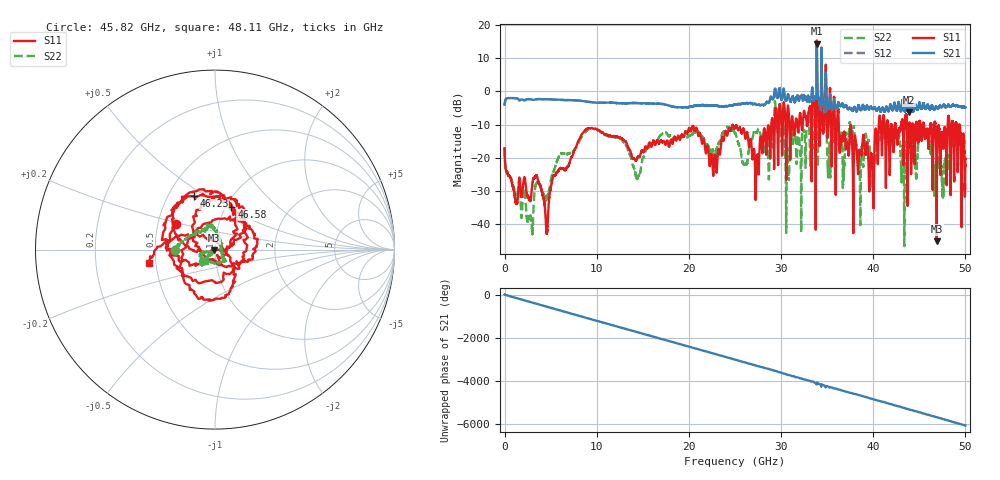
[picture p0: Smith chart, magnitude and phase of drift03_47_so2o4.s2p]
!Created with skrf (http://scikit-rf.org).
# Hz S RI R 50.0
!freq ReS11 ImS11 ReS21 ImS21 ReS12 ImS12 ReS22 ImS22
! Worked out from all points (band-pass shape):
!   10001 points, 300 kHz to 50 GHz, reference 50 ohm
!   highest |S21| = 14.41 dB at 33.88 GHz (marker M1); lowest = -6.3 dB at 43.9 GHz (marker M2)
!   |S21| within 3 dB of the highest: 33.8693 GHz to 33.88851 GHz (19.21 MHz wide, 0.0567 % of centre); 34.37686 GHz to 34.38936 GHz (12.5 MHz wide, 0.0364 % of centre)
!   lowest |S11| = -45.2 dB at 46.89 GHz (marker M3), VSWR 1.01, Z = 49.6 - j0.334 ohm
!   |S11| at or under -10 dB: start of sweep to 28.94 GHz; 36.27 GHz to 40.6 GHz (4.337 GHz wide, 11.3 % of centre); 46.74 GHz to 48.08 GHz (1.336 GHz wide, 2.82 % of centre) (the widest 3 of 65)
!   |S22| runs from -46.7 to 11.1 dB; largest |S21 - S12| = 0.83
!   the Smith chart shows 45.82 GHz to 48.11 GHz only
!   S11 on the Smith chart (normalised r, x): 45.82 GHz: 0.62, +0.19; 46.23 GHz: 0.67, +0.45; 46.58 GHz: 1.06, +0.54; 48.11 GHz: 0.46, -0.08
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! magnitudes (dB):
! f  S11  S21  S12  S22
! 300 kHz  -17.2  -4.0  -4.0  -16.9
! 2.82 GHz  -32.7  -2.4  -2.4  -38.1
! 4.555 GHz  -43.0  -2.3  -2.3  -32.2
! 8.335 GHz  -13.1  -2.8  -2.8  -13.9
! 14.44 GHz  -19.9  -3.5  -3.5  -26.1
! 16.67 GHz  -15.4  -3.7  -3.7  -14.3
! 22.82 GHz  -19.3  -4.3  -4.3  -19.1
! 25 GHz  -11.0  -4.0  -4.0  -12.5
! 27.39 GHz  -19.4  -4.1  -4.1  -12.4
! 29.6 GHz  -10.4  -2.0  -2.1  -11.7
! 30.7 GHz  -5.6  -1.4  -1.4  -17.2
! 33.34 GHz  -13.8  -0.4  -0.4  -7.0
! 33.88 GHz  15.4  14.4  14.1  10.9
! 39.81 GHz  -18.9  -4.9  -4.8  -23.1
! 41.67 GHz  -12.1  -5.9  -5.9  -15.2
! 43.9 GHz  -9.6  -6.3  -6.2  -17.1
! 45.82 GHz  -11.7  -4.6  -4.6  -13.1
! 46.23 GHz  -9.9  -5.2  -5.2  -18.1
! 46.58 GHz  -11.8  -5.3  -5.4  -27.7
! 46.89 GHz  -45.2  -4.9  -4.8  -22.2
! 48.11 GHz  -8.6  -4.1  -4.1  -21.5
! 50 GHz  -20.3  -4.8  -4.9  -15.1
